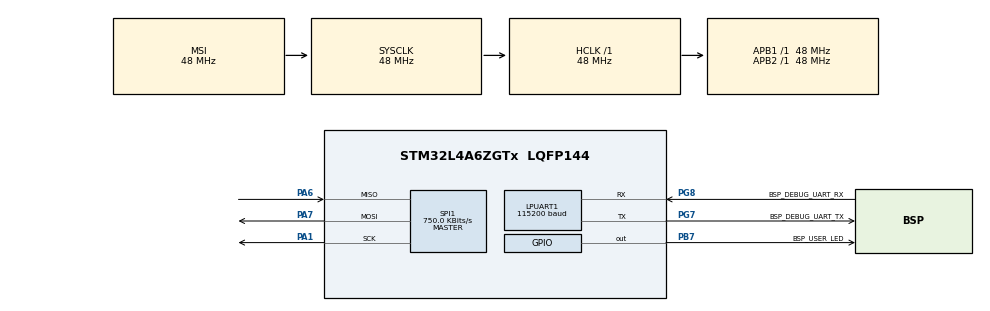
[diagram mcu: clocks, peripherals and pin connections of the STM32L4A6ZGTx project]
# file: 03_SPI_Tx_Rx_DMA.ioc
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Dma.Request0=SPI1_TX
Dma.Request1=SPI1_RX
Dma.SPI1_RX.1.Direction=DMA_PERIPH_TO_MEMORY
Dma.SPI1_RX.1.Instance=DMA1_Channel2
Dma.SPI1_RX.1.MemDataAlignment=DMA_MDATAALIGN_BYTE
Dma.SPI1_RX.1.MemInc=DMA_MINC_ENABLE
Dma.SPI1_RX.1.Mode=DMA_NORMAL
Dma.SPI1_RX.1.PeriphDataAlignment=DMA_PDATAALIGN_BYTE
Dma.SPI1_RX.1.PeriphInc=DMA_PINC_DISABLE
Dma.SPI1_RX.1.Priority=DMA_PRIORITY_LOW
Dma.SPI1_TX.0.Direction=DMA_MEMORY_TO_PERIPH
Dma.SPI1_TX.0.Instance=DMA1_Channel3
Dma.SPI1_TX.0.MemDataAlignment=DMA_MDATAALIGN_BYTE
Dma.SPI1_TX.0.MemInc=DMA_MINC_ENABLE
Dma.SPI1_TX.0.Mode=DMA_NORMAL
Dma.SPI1_TX.0.PeriphDataAlignment=DMA_PDATAALIGN_BYTE
Dma.SPI1_TX.0.PeriphInc=DMA_PINC_DISABLE
Dma.SPI1_TX.0.Priority=DMA_PRIORITY_LOW
LPUART1.BaudRate=115200
LPUART1.WordLength=UART_WORDLENGTH_8B
Mcu.Family=STM32L4
Mcu.Name=STM32L4A6ZGTx
Mcu.Package=LQFP144
NVIC.DMA1_Channel2_IRQn=true\:0\:0\:false\:false\:true\:false\:true\:true
NVIC.DMA1_Channel3_IRQn=true\:0\:0\:false\:false\:true\:false\:true\:true
NVIC.LPUART1_IRQn=true\:0\:0\:false\:false\:true\:true\:true\:true
NVIC.PriorityGroup=NVIC_PRIORITYGROUP_4
PA1.Mode=Full_Duplex_Master
PA1.Signal=SPI1_SCK
PA6.Mode=Full_Duplex_Master
PA6.Signal=SPI1_MISO
PA7.Mode=Full_Duplex_Master
PA7.Signal=SPI1_MOSI
PB7.GPIO_Label=BSP_USER_LED
PB7.Signal=GPIO_Output
PG7.GPIO_Label=BSP_DEBUG_UART_TX
PG7.Mode=Asynchronous
PG7.Signal=LPUART1_TX
PG8.GPIO_Label=BSP_DEBUG_UART_RX
PG8.Mode=Asynchronous
PG8.Signal=LPUART1_RX
ProjectManager.HeapSize=0x200
ProjectManager.StackSize=0x400
ProjectManager.TargetToolchain=STM32CubeIDE
RCC.ADCFreq_Value=192000000
RCC.AHBFreq_Value=48000000
RCC.APB1Freq_Value=48000000
RCC.APB1TimFreq_Value=48000000
RCC.APB2Freq_Value=48000000
RCC.APB2TimFreq_Value=48000000
RCC.CortexFreq_Value=48000000
RCC.HCLKFreq_Value=48000000
RCC.HSE_VALUE=8000000
RCC.HSI48_VALUE=48000000
RCC.HSI_VALUE=16000000
RCC.LSE_VALUE=32768
RCC.MSIClockRange=RCC_MSIRANGE_11
RCC.MSI_VALUE=48000000
RCC.PLLN=20
RCC.SYSCLKFreq_VALUE=48000000
RCC.USBFreq_Value=192000000
RCC.VCOOutputFreq_Value=960000000
SPI1.BaudRatePrescaler=SPI_BAUDRATEPRESCALER_64
SPI1.CalculateBaudRate=750.0 KBits/s
SPI1.DataSize=SPI_DATASIZE_8BIT
SPI1.Direction=SPI_DIRECTION_2LINES
SPI1.Mode=SPI_MODE_MASTER
SPI1.VirtualType=VM_MASTER
board=NUCLEO-L4A6ZG

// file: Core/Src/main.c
/* USER CODE BEGIN Header */
/**
  ******************************************************************************
  * @file           : main.c
  * @brief          : Main program body
  ******************************************************************************
  * @attention
  *
  * Copyright (c) 2024 STMicroelectronics.
  * All rights reserved.
  *
  * This software is licensed under terms that can be found in the LICENSE file
  * in the root directory of this software component.
  * If no LICENSE file comes with this software, it is provided AS-IS.
  *
  ******************************************************************************
  */
/* USER CODE END Header */
#include "main.h"

/* USER CODE BEGIN Includes */
#include "stdio.h"
#include "string.h"
/* USER CODE END Includes */

/* USER CODE BEGIN PM */
#define MAX_SIZE 100
#define NEWLINE_CHAR '\n'
#define RETURN_CHAR  '\r'
/* USER CODE END PM */

UART_HandleTypeDef hlpuart1;

SPI_HandleTypeDef hspi1;
DMA_HandleTypeDef hdma_spi1_tx;
DMA_HandleTypeDef hdma_spi1_rx;

/* USER CODE BEGIN PV */
//uint8_t buffer_tx[10] = {70,71,72,73,74,75,76,77,78,79};
uint8_t buffer_print[MAX_SIZE];
uint8_t uart_buffer[MAX_SIZE];
uint8_t rx_buffer[MAX_SIZE];
volatile uint8_t spi_cplt = 0;
volatile uint8_t uart_cplt = 0;

// Variable to track the number of received bytes
volatile uint16_t received_length = 0;
volatile uint16_t Index = 0;
/* USER CODE END PV */

void SystemClock_Config(void);
static void MX_GPIO_Init(void);
static void MX_DMA_Init(void);
static void MX_SPI1_Init(void);
static void MX_LPUART1_UART_Init(void);
/* USER CODE BEGIN PFP */
void HAL_SPI_TxRxCpltCallback(SPI_HandleTypeDef *hspi);
void HAL_UART_RxCpltCallback(UART_HandleTypeDef *huart);
/* USER CODE END PFP */

int main(void)
{

  /* MCU Configuration--------------------------------------------------------*/

  /* Reset of all peripherals, Initializes the Flash interface and the Systick. */
  HAL_Init();

  /* Configure the system clock */
  SystemClock_Config();

  /* Initialize all configured peripherals */
  MX_GPIO_Init();
  MX_DMA_Init();
  MX_SPI1_Init();
  MX_LPUART1_UART_Init();
  /* USER CODE BEGIN 2 */

//  HAL_SPI_TransmitReceive_DMA(&hspi1, buffer_tx, buffer_rx, 10);

  /* receive data through uart in interrupt mode */
  HAL_UART_Receive_IT(&hlpuart1, rx_buffer, 1);

  /* USER CODE END 2 */

  /* Infinite loop */
  while (1)
  {

    /* USER CODE BEGIN 3 */

	  if(uart_cplt == 1)
	  {
		  /* transmit and received the data through spi in dma mode */
		  HAL_SPI_TransmitReceive_DMA(&hspi1, uart_buffer, buffer_print, received_length);
		  uart_cplt = 0;		//flag zero
	  }

	  if(spi_cplt == 1)			//if spi tx-rx completes
	  {
		  /* continuous process */
		  HAL_GPIO_TogglePin(BSP_USER_LED_GPIO_Port, BSP_USER_LED_Pin);
		  HAL_Delay(1000);
//		  spi_cplt = 0;
	  }

  }
  /* USER CODE END 3 */
}

void SystemClock_Config(void)
{
  RCC_OscInitTypeDef RCC_OscInitStruct = {0};
  RCC_ClkInitTypeDef RCC_ClkInitStruct = {0};

  /** Configure the main internal regulator output voltage
  */
  if (HAL_PWREx_ControlVoltageScaling(PWR_REGULATOR_VOLTAGE_SCALE1) != HAL_OK)
  {
    Error_Handler();
  }

  /** Initializes the RCC Oscillators according to the specified parameters
  * in the RCC_OscInitTypeDef structure.
  */
  RCC_OscInitStruct.OscillatorType = RCC_OSCILLATORTYPE_MSI;
  RCC_OscInitStruct.MSIState = RCC_MSI_ON;
  RCC_OscInitStruct.MSICalibrationValue = 0;
  RCC_OscInitStruct.MSIClockRange = RCC_MSIRANGE_11;
  RCC_OscInitStruct.PLL.PLLState = RCC_PLL_NONE;
  if (HAL_RCC_OscConfig(&RCC_OscInitStruct) != HAL_OK)
  {
    Error_Handler();
  }

  /** Initializes the CPU, AHB and APB buses clocks
  */
  RCC_ClkInitStruct.ClockType = RCC_CLOCKTYPE_HCLK|RCC_CLOCKTYPE_SYSCLK
                              |RCC_CLOCKTYPE_PCLK1|RCC_CLOCKTYPE_PCLK2;
  RCC_ClkInitStruct.SYSCLKSource = RCC_SYSCLKSOURCE_MSI;
  RCC_ClkInitStruct.AHBCLKDivider = RCC_SYSCLK_DIV1;
  RCC_ClkInitStruct.APB1CLKDivider = RCC_HCLK_DIV1;
  RCC_ClkInitStruct.APB2CLKDivider = RCC_HCLK_DIV1;

  if (HAL_RCC_ClockConfig(&RCC_ClkInitStruct, FLASH_LATENCY_2) != HAL_OK)
  {
    Error_Handler();
  }
}

static void MX_LPUART1_UART_Init(void)
{

  hlpuart1.Instance = LPUART1;
  hlpuart1.Init.BaudRate = 115200;
  hlpuart1.Init.WordLength = UART_WORDLENGTH_8B;
  hlpuart1.Init.StopBits = UART_STOPBITS_1;
  hlpuart1.Init.Parity = UART_PARITY_NONE;
  hlpuart1.Init.Mode = UART_MODE_TX_RX;
  hlpuart1.Init.HwFlowCtl = UART_HWCONTROL_NONE;
  hlpuart1.Init.OneBitSampling = UART_ONE_BIT_SAMPLE_DISABLE;
  hlpuart1.AdvancedInit.AdvFeatureInit = UART_ADVFEATURE_NO_INIT;
  if (HAL_UART_Init(&hlpuart1) != HAL_OK)
  {
    Error_Handler();
  }

}

static void MX_SPI1_Init(void)
{

  /* SPI1 parameter configuration*/
  hspi1.Instance = SPI1;
  hspi1.Init.Mode = SPI_MODE_MASTER;
  hspi1.Init.Direction = SPI_DIRECTION_2LINES;
  hspi1.Init.DataSize = SPI_DATASIZE_8BIT;
  hspi1.Init.CLKPolarity = SPI_POLARITY_LOW;
  hspi1.Init.CLKPhase = SPI_PHASE_1EDGE;
  hspi1.Init.NSS = SPI_NSS_SOFT;
  hspi1.Init.BaudRatePrescaler = SPI_BAUDRATEPRESCALER_64;
  hspi1.Init.FirstBit = SPI_FIRSTBIT_MSB;
  hspi1.Init.TIMode = SPI_TIMODE_DISABLE;
  hspi1.Init.CRCCalculation = SPI_CRCCALCULATION_DISABLE;
  hspi1.Init.CRCPolynomial = 7;
  hspi1.Init.CRCLength = SPI_CRC_LENGTH_DATASIZE;
  hspi1.Init.NSSPMode = SPI_NSS_PULSE_ENABLE;
  if (HAL_SPI_Init(&hspi1) != HAL_OK)
  {
    Error_Handler();
  }

}

static void MX_DMA_Init(void)
{

  /* DMA controller clock enable */
  __HAL_RCC_DMA1_CLK_ENABLE();

  /* DMA interrupt init */
  /* DMA1_Channel2_IRQn interrupt configuration */
  HAL_NVIC_SetPriority(DMA1_Channel2_IRQn, 0, 0);
  HAL_NVIC_EnableIRQ(DMA1_Channel2_IRQn);
  /* DMA1_Channel3_IRQn interrupt configuration */
  HAL_NVIC_SetPriority(DMA1_Channel3_IRQn, 0, 0);
  HAL_NVIC_EnableIRQ(DMA1_Channel3_IRQn);

}

static void MX_GPIO_Init(void)
{
  GPIO_InitTypeDef GPIO_InitStruct = {0};

  /* GPIO Ports Clock Enable */
  __HAL_RCC_GPIOA_CLK_ENABLE();
  __HAL_RCC_GPIOG_CLK_ENABLE();
  HAL_PWREx_EnableVddIO2();
  __HAL_RCC_GPIOB_CLK_ENABLE();

  /*Configure GPIO pin Output Level */
  HAL_GPIO_WritePin(BSP_USER_LED_GPIO_Port, BSP_USER_LED_Pin, GPIO_PIN_RESET);

  /*Configure GPIO pin : BSP_USER_LED_Pin */
  GPIO_InitStruct.Pin = BSP_USER_LED_Pin;
  GPIO_InitStruct.Mode = GPIO_MODE_OUTPUT_PP;
  GPIO_InitStruct.Pull = GPIO_NOPULL;
  GPIO_InitStruct.Speed = GPIO_SPEED_FREQ_LOW;
  HAL_GPIO_Init(BSP_USER_LED_GPIO_Port, &GPIO_InitStruct);

}

/* USER CODE BEGIN 4 */

void HAL_UART_RxCpltCallback(UART_HandleTypeDef *huart)
{
	/* start the reception of data in interrupt mode again */
	HAL_UART_Receive_IT(&hlpuart1, rx_buffer, 1);

	/* store the received data into buffer */
	if(rx_buffer[0]!= RETURN_CHAR && rx_buffer[0] != NEWLINE_CHAR)
	{
		uart_buffer[Index] = rx_buffer[0];
		Index++;							//increment length
	}
	/* enable the uart cplt flag if rx_buffer encounters a newline character */
	else if (rx_buffer[0] == NEWLINE_CHAR)
	{
		uart_cplt = 1;						//data reception complete
		received_length= Index;	//store length in another variable
		Index = 0;				//clear length
	}
}

void HAL_SPI_TxRxCpltCallback(SPI_HandleTypeDef *hspi)
{
	/* print the received data on terminal */
	printf("%s\r\n", buffer_print);			//print the buffer
	spi_cplt = 1;							//enable the flag
	memset(buffer_print, 0, MAX_SIZE);		//clear buffer
}
/* USER CODE END 4 */

void Error_Handler(void)
{
  __disable_irq();
  while (1)
  {
  }
}
